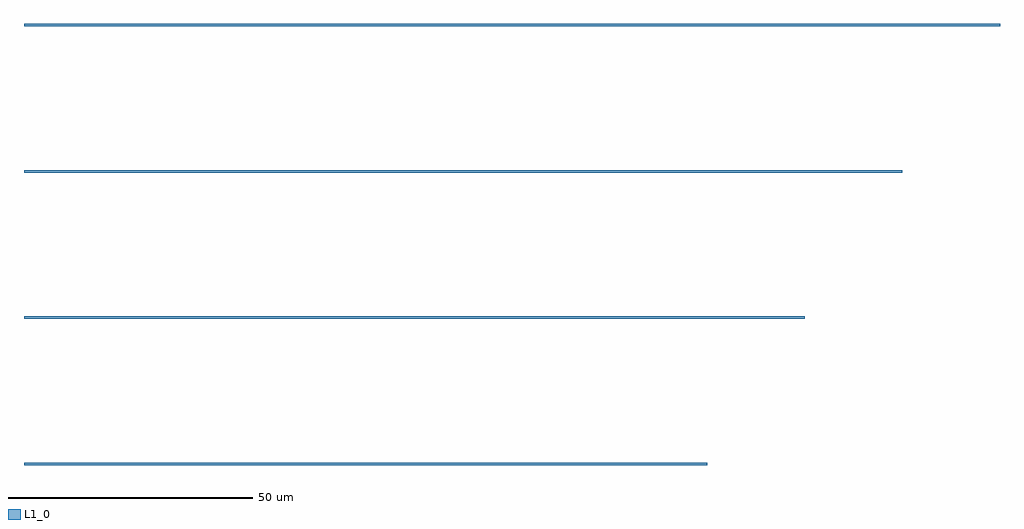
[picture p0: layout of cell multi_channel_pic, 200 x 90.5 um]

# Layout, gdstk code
import gdstk
lib = gdstk.Library(unit=1e-6, precision=1e-09)
def R(c, l, rs):  # rectangles x0, y0, x1, y1
    for r in rs: c.add(gdstk.rectangle(r[:2], r[2:], *l))
L1_0 = (1, 0)

straight_gdsfactorypcomp = lib.new_cell('straight_gdsfactorypcomponentspwaveguidespstraight_L20__31a8c163')
R(straight_gdsfactorypcomp, L1_0, [(0,-0.25,20,0.25)])

c_straight_gdsfactorypcomp = lib.new_cell('straight_gdsfactorypcomponentspwaveguidespstraight_L40__92237c63')
R(c_straight_gdsfactorypcomp, L1_0, [(0,-0.25,40,0.25)])

channel_device_l40 = lib.new_cell('channel_device_L40')
channel_device_l40.add(gdstk.Reference(c_straight_gdsfactorypcomp, (0,0)))

c_straight_gdsfactorypcomp_ = lib.new_cell('straight_gdsfactorypcomponentspwaveguidespstraight_L60__19f0af99')
R(c_straight_gdsfactorypcomp_, L1_0, [(0,-0.25,60,0.25)])

channel_device_l60 = lib.new_cell('channel_device_L60')
channel_device_l60.add(gdstk.Reference(c_straight_gdsfactorypcomp_, (0,0)))

c_straight_gdsfactorypcomp__ = lib.new_cell('straight_gdsfactorypcomponentspwaveguidespstraight_L80__2dddf9c8')
R(c_straight_gdsfactorypcomp__, L1_0, [(0,-0.25,80,0.25)])

channel_device_l80 = lib.new_cell('channel_device_L80')
channel_device_l80.add(gdstk.Reference(c_straight_gdsfactorypcomp__, (0,0)))

c_straight_gdsfactorypcomp___ = lib.new_cell('straight_gdsfactorypcomponentspwaveguidespstraight_L100_fb22af26')
R(c_straight_gdsfactorypcomp___, L1_0, [(0,-0.25,100,0.25)])

channel_device_l100 = lib.new_cell('channel_device_L100')
channel_device_l100.add(gdstk.Reference(c_straight_gdsfactorypcomp___, (0,0)))

c_straight_gdsfactorypcomp____ = lib.new_cell('straight_gdsfactorypcomponentspwaveguidespstraight_L80__f2ededa8')
R(c_straight_gdsfactorypcomp____, L1_0, [(0,-0.25,80,0.25)])

multi_channel_pic = lib.new_cell('multi_channel_pic')
multi_channel_pic.add(gdstk.Reference(straight_gdsfactorypcomp, (0,0)))
multi_channel_pic.add(gdstk.Reference(channel_device_l40, (100,0)))
multi_channel_pic.add(gdstk.Reference(straight_gdsfactorypcomp, (0,30)))
multi_channel_pic.add(gdstk.Reference(channel_device_l60, (100,30)))
multi_channel_pic.add(gdstk.Reference(straight_gdsfactorypcomp, (0,60)))
multi_channel_pic.add(gdstk.Reference(channel_device_l80, (100,60)))
multi_channel_pic.add(gdstk.Reference(straight_gdsfactorypcomp, (0,90)))
multi_channel_pic.add(gdstk.Reference(channel_device_l100, (100,90)))
multi_channel_pic.add(gdstk.Reference(c_straight_gdsfactorypcomp____, (20,0)))
multi_channel_pic.add(gdstk.Reference(c_straight_gdsfactorypcomp____, (20,30)))
multi_channel_pic.add(gdstk.Reference(c_straight_gdsfactorypcomp____, (20,60)))
multi_channel_pic.add(gdstk.Reference(c_straight_gdsfactorypcomp____, (20,90)))

lib.write_gds('multi_channel_pic.gds')
